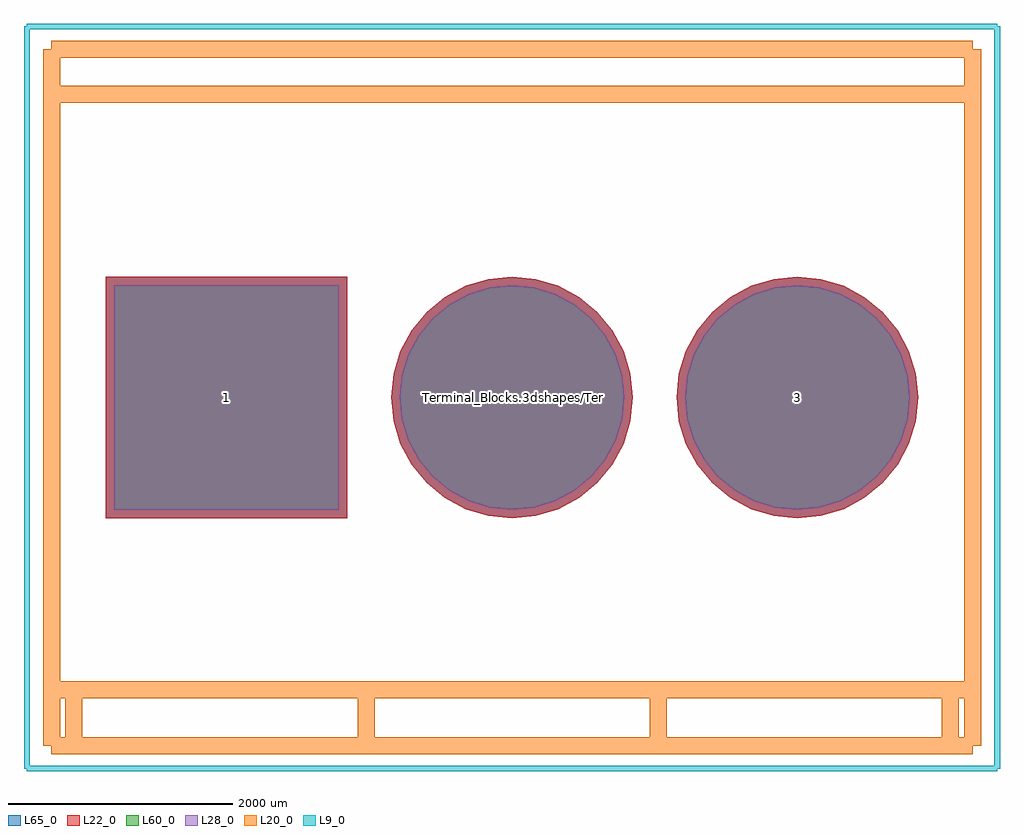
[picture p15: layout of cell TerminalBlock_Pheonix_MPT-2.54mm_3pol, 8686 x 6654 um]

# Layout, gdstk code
import gdstk
lib = gdstk.Library(unit=1e-6, precision=1e-09)
def R(c, l, rs):  # rectangles x0, y0, x1, y1
    for r in rs: c.add(gdstk.rectangle(r[:2], r[2:], *l))
def P(c, l, *ps):  # polygons
    for p in ps: c.add(gdstk.Polygon(p, *l))
L9_0 = (9, 0)
L20_0 = (20, 0)
L22_0 = (22, 0)
L28_0 = (28, 0)
L60_0 = (60, 0)
L65_0 = (65, 0)

terminalblock_pheonix_mp = lib.new_cell('TerminalBlock_Pheonix_MPT-2.54mm_3pol')
R(terminalblock_pheonix_mp, L22_0, [(-1074.49,-1074.49,1074.49,1074.49)])
P(terminalblock_pheonix_mp, L22_0, [(3614.49,0),(3593.844,209.623),(3532.699,411.19),(3433.406,596.955),(3299.779,759.779),(3136.955,893.406),(2951.19,992.699),(2749.623,1053.844),(2540,1074.49),(2330.377,1053.844),(2128.81,992.699),(1943.045,893.406),(1780.221,759.779),(1646.594,596.955),(1547.301,411.19),(1486.156,209.623),(1465.51,0),(1486.156,-209.623),(1547.301,-411.19),(1646.594,-596.955),(1780.221,-759.779),(1943.045,-893.406),(2128.81,-992.699),(2330.377,-1053.844),(2540,-1074.49),(2749.623,-1053.844),(2951.19,-992.699),(3136.955,-893.406),(3299.779,-759.779),(3433.406,-596.955),(3532.699,-411.19),(3593.844,-209.623)],
  [(6154.49,0),(6133.844,209.623),(6072.699,411.19),(5973.406,596.955),(5839.779,759.779),(5676.955,893.406),(5491.19,992.699),(5289.623,1053.844),(5080,1074.49),(4870.377,1053.844),(4668.81,992.699),(4483.045,893.406),(4320.221,759.779),(4186.594,596.955),(4087.301,411.19),(4026.156,209.623),(4005.51,0),(4026.156,-209.623),(4087.301,-411.19),(4186.594,-596.955),(4320.221,-759.779),(4483.045,-893.406),(4668.81,-992.699),(4870.377,-1053.844),(5080,-1074.49),(5289.623,-1053.844),(5491.19,-992.699),(5676.955,-893.406),(5839.779,-759.779),(5973.406,-596.955),(6072.699,-411.19),(6133.844,-209.623)])
R(terminalblock_pheonix_mp, L28_0, [(-999.49,-999.49,999.49,999.49)])
P(terminalblock_pheonix_mp, L28_0, [(3539.49,0),(3520.285,194.991),(3463.408,382.488),(3371.046,555.287),(3246.746,706.746),(3095.287,831.046),(2922.488,923.408),(2734.991,980.285),(2540,999.49),(2345.009,980.285),(2157.512,923.408),(1984.713,831.046),(1833.254,706.746),(1708.954,555.287),(1616.592,382.488),(1559.715,194.991),(1540.51,0),(1559.715,-194.991),(1616.592,-382.488),(1708.954,-555.287),(1833.254,-706.746),(1984.713,-831.046),(2157.512,-923.408),(2345.009,-980.285),(2540,-999.49),(2734.991,-980.285),(2922.488,-923.408),(3095.287,-831.046),(3246.746,-706.746),(3371.046,-555.287),(3463.408,-382.488),(3520.285,-194.991)],
  [(6079.49,0),(6060.285,194.991),(6003.408,382.488),(5911.046,555.287),(5786.746,706.746),(5635.287,831.046),(5462.488,923.408),(5274.991,980.285),(5080,999.49),(4885.009,980.285),(4697.512,923.408),(4524.713,831.046),(4373.254,706.746),(4248.954,555.287),(4156.592,382.488),(4099.715,194.991),(4080.51,0),(4099.715,-194.991),(4156.592,-382.488),(4248.954,-555.287),(4373.254,-706.746),(4524.713,-831.046),(4697.512,-923.408),(4885.009,-980.285),(5080,-999.49),(5274.991,-980.285),(5462.488,-923.408),(5635.287,-831.046),(5786.746,-706.746),(5911.046,-555.287),(6003.408,-382.488),(6060.285,-194.991)])
R(terminalblock_pheonix_mp, L60_0, [(-999.49,-999.49,999.49,999.49)])
P(terminalblock_pheonix_mp, L60_0, [(3539.49,0),(3520.285,194.991),(3463.408,382.488),(3371.046,555.287),(3246.746,706.746),(3095.287,831.046),(2922.488,923.408),(2734.991,980.285),(2540,999.49),(2345.009,980.285),(2157.512,923.408),(1984.713,831.046),(1833.254,706.746),(1708.954,555.287),(1616.592,382.488),(1559.715,194.991),(1540.51,0),(1559.715,-194.991),(1616.592,-382.488),(1708.954,-555.287),(1833.254,-706.746),(1984.713,-831.046),(2157.512,-923.408),(2345.009,-980.285),(2540,-999.49),(2734.991,-980.285),(2922.488,-923.408),(3095.287,-831.046),(3246.746,-706.746),(3371.046,-555.287),(3463.408,-382.488),(3520.285,-194.991)],
  [(6079.49,0),(6060.285,194.991),(6003.408,382.488),(5911.046,555.287),(5786.746,706.746),(5635.287,831.046),(5462.488,923.408),(5274.991,980.285),(5080,999.49),(4885.009,980.285),(4697.512,923.408),(4524.713,831.046),(4373.254,706.746),(4248.954,555.287),(4156.592,382.488),(4099.715,194.991),(4080.51,0),(4099.715,-194.991),(4156.592,-382.488),(4248.954,-555.287),(4373.254,-706.746),(4524.713,-831.046),(4697.512,-923.408),(4885.009,-980.285),(5080,-999.49),(5274.991,-980.285),(5462.488,-923.408),(5635.287,-831.046),(5786.746,-706.746),(5911.046,-555.287),(6003.408,-382.488),(6060.285,-194.991)])
R(terminalblock_pheonix_mp, L65_0, [(-1074.49,-1074.49,1074.49,1074.49)])
P(terminalblock_pheonix_mp, L65_0, [(3614.49,0),(3593.844,209.623),(3532.699,411.19),(3433.406,596.955),(3299.779,759.779),(3136.955,893.406),(2951.19,992.699),(2749.623,1053.844),(2540,1074.49),(2330.377,1053.844),(2128.81,992.699),(1943.045,893.406),(1780.221,759.779),(1646.594,596.955),(1547.301,411.19),(1486.156,209.623),(1465.51,0),(1486.156,-209.623),(1547.301,-411.19),(1646.594,-596.955),(1780.221,-759.779),(1943.045,-893.406),(2128.81,-992.699),(2330.377,-1053.844),(2540,-1074.49),(2749.623,-1053.844),(2951.19,-992.699),(3136.955,-893.406),(3299.779,-759.779),(3433.406,-596.955),(3532.699,-411.19),(3593.844,-209.623)],
  [(6154.49,0),(6133.844,209.623),(6072.699,411.19),(5973.406,596.955),(5839.779,759.779),(5676.955,893.406),(5491.19,992.699),(5289.623,1053.844),(5080,1074.49),(4870.377,1053.844),(4668.81,992.699),(4483.045,893.406),(4320.221,759.779),(4186.594,596.955),(4087.301,411.19),(4026.156,209.623),(4005.51,0),(4026.156,-209.623),(4087.301,-411.19),(4186.594,-596.955),(4320.221,-759.779),(4483.045,-893.406),(4668.81,-992.699),(4870.377,-1053.844),(5080,-1074.49),(5289.623,-1053.844),(5491.19,-992.699),(5676.955,-893.406),(5839.779,-759.779),(5973.406,-596.955),(6072.699,-411.19),(6133.844,-209.623)])
terminalblock_pheonix_mp.add(gdstk.FlexPath([(-1557.02,3098.8),(-1557.02,-3098.8)], 149.998, ends="flush", simple_path=True, layer=20, datatype=0))  # L20_0
terminalblock_pheonix_mp.add(gdstk.FlexPath([(6639.56,-3098.8),(6639.56,3098.8)], 149.998, ends="flush", simple_path=True, layer=20, datatype=0))  # L20_0
terminalblock_pheonix_mp.add(gdstk.FlexPath([(1242.06,-3098.8),(1242.06,-2600.96)], 149.998, ends="flush", simple_path=True, layer=20, datatype=0))  # L20_0
terminalblock_pheonix_mp.add(gdstk.FlexPath([(6441.44,-2600.96),(6441.44,-3098.8)], 149.998, ends="flush", simple_path=True, layer=20, datatype=0))  # L20_0
terminalblock_pheonix_mp.add(gdstk.FlexPath([(-1358.9,-3098.8),(-1358.9,-2600.96)], 149.998, ends="flush", simple_path=True, layer=20, datatype=0))  # L20_0
terminalblock_pheonix_mp.add(gdstk.FlexPath([(3840.48,-2600.96),(3840.48,-3098.8)], 149.998, ends="flush", simple_path=True, layer=20, datatype=0))  # L20_0
terminalblock_pheonix_mp.add(gdstk.FlexPath([(-1559.56,-3098.8),(6639.56,-3098.8)], 149.998, ends="flush", simple_path=True, layer=20, datatype=0))  # L20_0
terminalblock_pheonix_mp.add(gdstk.FlexPath([(6639.56,-2600.96),(-1559.56,-2600.96)], 149.998, ends="flush", simple_path=True, layer=20, datatype=0))  # L20_0
terminalblock_pheonix_mp.add(gdstk.FlexPath([(6639.56,2700.02),(-1559.56,2700.02)], 149.998, ends="flush", simple_path=True, layer=20, datatype=0))  # L20_0
terminalblock_pheonix_mp.add(gdstk.FlexPath([(6639.56,3098.8),(-1559.56,3098.8)], 149.998, ends="flush", simple_path=True, layer=20, datatype=0))  # L20_0
terminalblock_pheonix_mp.add(gdstk.FlexPath([(6858,-3302),(6858,3302)], 50, ends="flush", simple_path=True, layer=9, datatype=0))  # L9_0
terminalblock_pheonix_mp.add(gdstk.FlexPath([(6858,3302),(-1778,3302)], 50, ends="flush", simple_path=True, layer=9, datatype=0))  # L9_0
terminalblock_pheonix_mp.add(gdstk.FlexPath([(-1778,3302),(-1778,-3302)], 50, ends="flush", simple_path=True, layer=9, datatype=0))  # L9_0
terminalblock_pheonix_mp.add(gdstk.FlexPath([(-1778,-3302),(6858,-3302)], 50, ends="flush", simple_path=True, layer=9, datatype=0))  # L9_0
terminalblock_pheonix_mp.add(gdstk.Label('Terminal_Blocks.3dshapes/TerminalBlock_Pheonix_MPT-2.54mm_3pol.wrl', (2540,0), layer=12, texttype=0))
terminalblock_pheonix_mp.add(gdstk.Label('2', (2540,0), layer=28, texttype=0))
terminalblock_pheonix_mp.add(gdstk.Label('1', (0,0), layer=28, texttype=0))
terminalblock_pheonix_mp.add(gdstk.Label('3', (5080,0), layer=28, texttype=0))
terminalblock_pheonix_mp.add(gdstk.Label('type', (2540,-4500.88), layer=9, texttype=0))
terminalblock_pheonix_mp.add(gdstk.Label('devicename', (2540,4500.88), layer=9, texttype=0))

lib.write_gds('TerminalBlock_Pheonix_MPT-2.54mm_3pol.gds')
